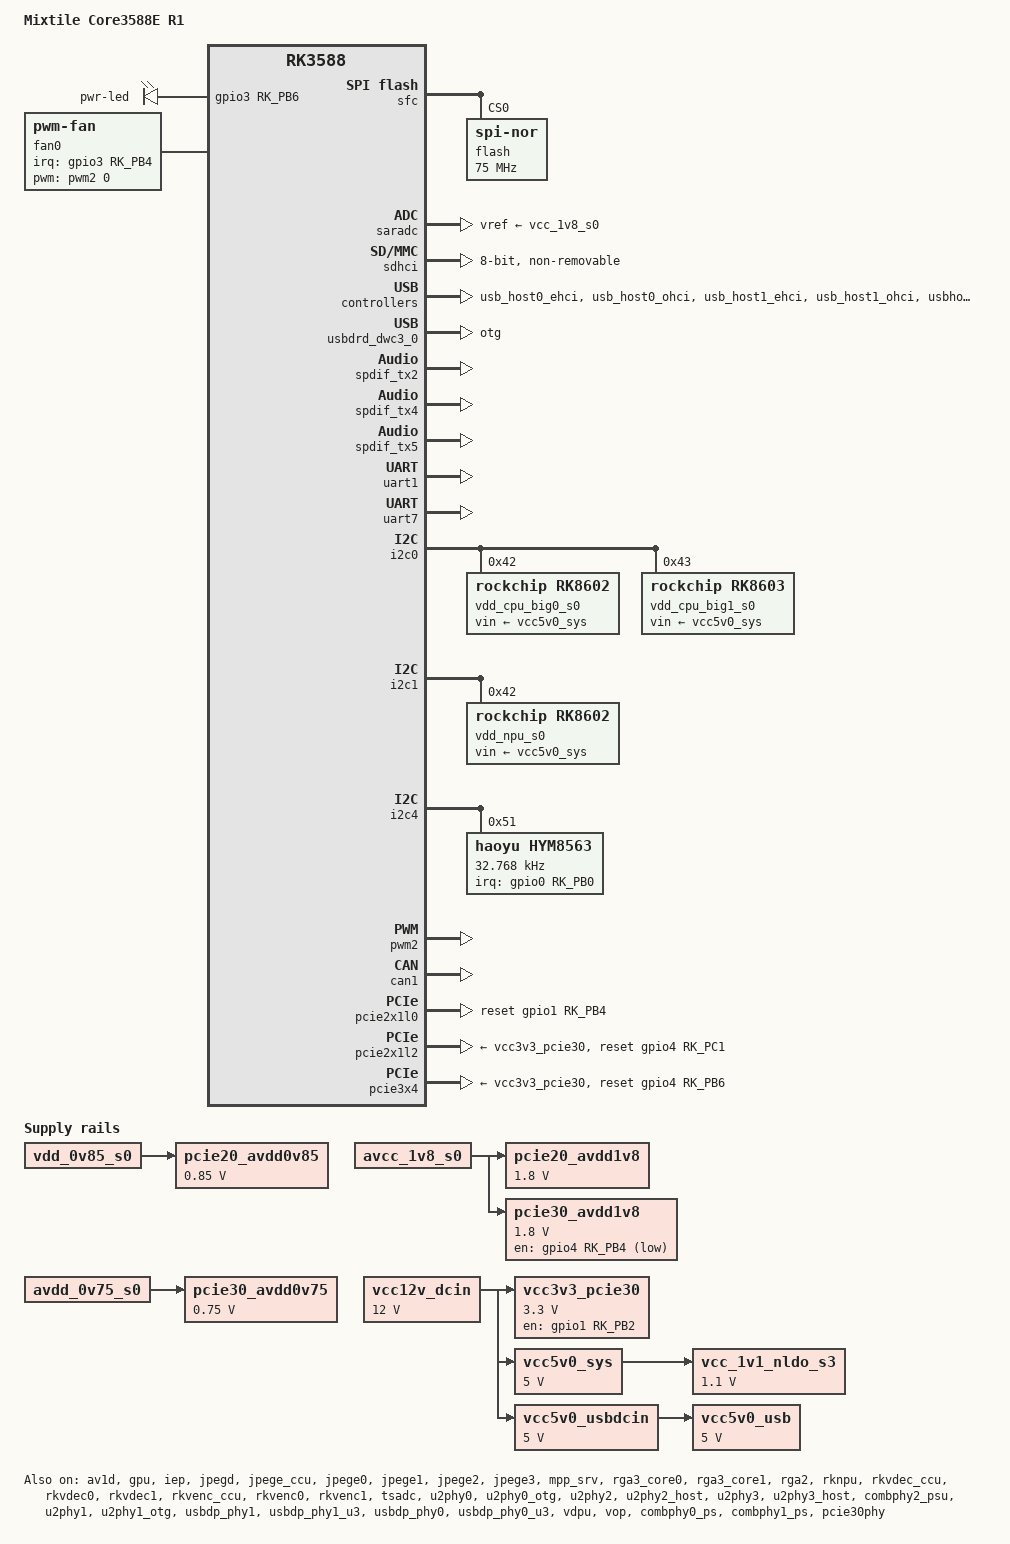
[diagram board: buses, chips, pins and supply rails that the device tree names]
// SPDX-License-Identifier: (GPL-2.0+ OR MIT)
/*
 * Copyright (c) 2026 Mixtile Limited
 *
 */

/dts-v1/;

#include <dt-bindings/gpio/gpio.h>
#include <dt-bindings/pwm/pwm.h>
#include <dt-bindings/pinctrl/rockchip.h>
#include <dt-bindings/input/rk-input.h>
#include <dt-bindings/display/drm_mipi_dsi.h>
#include <dt-bindings/display/rockchip_vop.h>
#include <dt-bindings/sensor-dev.h>

#include "rk3588.dtsi"
#include "rk3588-rk806-single.dtsi"
#include "rk3588-linux.dtsi"

/ {
	model = "Mixtile Core3588E R1";
	compatible = "mixtile,core3588e-r1", "mixtile,core3588e", "rockchip,rk3588";

	aliases {
		i2c0 = &i2c4;
		i2c1 = &i2c5;
		i2c2 = &i2c3;
		i2c3 = &i2c0;
		i2c4 = &i2c1;
		i2c5 = &i2c2;
		spi0 = &spi1;
		spi1 = &spi0;
	};

	/* If hdmirx node is disabled, delete the reserved-memory node here. */
	reserved-memory {
		#address-cells = <2>;
		#size-cells = <2>;
		ranges;

		/* Reserve 256MB memory for hdmirx-controller@fdee0000 */
		cma {
			compatible = "shared-dma-pool";
			reusable;
			reg = <0x0 (256 * 0x100000) 0x0 (256 * 0x100000)>;
			linux,cma-default;
		};
	};

        gpio-leds {
                compatible = "gpio-leds";

                pwr-led {
                        gpios = <&gpio3 RK_PB6 GPIO_ACTIVE_HIGH>;
                        default-state = "on";
                        linux,default-trigger = "heartbeat";
                };
        };

	pcie20_avdd0v85: pcie20-avdd0v85 {
		compatible = "regulator-fixed";
		regulator-name = "pcie20_avdd0v85";
		regulator-boot-on;
		regulator-always-on;
		regulator-min-microvolt = <850000>;
		regulator-max-microvolt = <850000>;
		vin-supply = <&vdd_0v85_s0>;
	};

	pcie20_avdd1v8: pcie20-avdd1v8 {
		compatible = "regulator-fixed";
		regulator-name = "pcie20_avdd1v8";
		regulator-boot-on;
		regulator-always-on;
		regulator-min-microvolt = <1800000>;
		regulator-max-microvolt = <1800000>;
		vin-supply = <&avcc_1v8_s0>;
	};

	pcie30_avdd0v75: pcie30-avdd0v75 {
		compatible = "regulator-fixed";
		regulator-name = "pcie30_avdd0v75";
		regulator-boot-on;
		regulator-always-on;
		regulator-min-microvolt = <750000>;
		regulator-max-microvolt = <750000>;
		vin-supply = <&avdd_0v75_s0>;
	};

	pcie30_avdd1v8: pcie30-avdd1v8 {
		compatible = "regulator-fixed";
		regulator-name = "pcie30_avdd1v8";
		regulator-boot-on;
		regulator-always-on;
		gpios = <&gpio4 RK_PB4 GPIO_ACTIVE_LOW>;
		regulator-min-microvolt = <1800000>;
		regulator-max-microvolt = <1800000>;
		vin-supply = <&avcc_1v8_s0>;
	};

	vcc3v3_pcie30: vcc3v3-pcie30 {
		compatible = "regulator-fixed";
		regulator-name = "vcc3v3_pcie30";
		regulator-min-microvolt = <3300000>;
		regulator-max-microvolt = <3300000>;
		enable-active-high;
		regulator-always-on;
		gpios = <&gpio1 RK_PB2 GPIO_ACTIVE_HIGH>;
		startup-delay-us = <10000>;
		vin-supply = <&vcc12v_dcin>;
	};

	vcc12v_dcin: vcc12v-dcin {
		compatible = "regulator-fixed";
		regulator-name = "vcc12v_dcin";
		regulator-always-on;
		regulator-boot-on;
		regulator-min-microvolt = <12000000>;
		regulator-max-microvolt = <12000000>;
	};

	vcc5v0_sys: vcc5v0-sys {
		compatible = "regulator-fixed";
		regulator-name = "vcc5v0_sys";
		regulator-always-on;
		regulator-boot-on;
		regulator-min-microvolt = <5000000>;
		regulator-max-microvolt = <5000000>;
		vin-supply = <&vcc12v_dcin>;
	};

	vcc5v0_usbdcin: vcc5v0-usbdcin {
		compatible = "regulator-fixed";
		regulator-name = "vcc5v0_usbdcin";
		regulator-always-on;
		regulator-boot-on;
		regulator-min-microvolt = <5000000>;
		regulator-max-microvolt = <5000000>;
		vin-supply = <&vcc12v_dcin>;
	};

	vcc5v0_usb: vcc5v0-usb {
		compatible = "regulator-fixed";
		regulator-name = "vcc5v0_usb";
		regulator-always-on;
		regulator-boot-on;
		regulator-min-microvolt = <5000000>;
		regulator-max-microvolt = <5000000>;
		vin-supply = <&vcc5v0_usbdcin>;
	};

	vcc_1v1_nldo_s3: vcc-1v1-nldo-s3 {
		compatible = "regulator-fixed";
		regulator-name = "vcc_1v1_nldo_s3";
		regulator-always-on;
		regulator-boot-on;
		regulator-min-microvolt = <1100000>;
		regulator-max-microvolt = <1100000>;
		vin-supply = <&vcc5v0_sys>;
	};

	
	 fan0: pwm-fan {
                compatible = "pwm-fan";
                #cooling-cells = <2>;
                pwms = <&pwm2 0 50000 0>;
		interrupt-parent = <&gpio3>;
		interrupts = <RK_PB4 IRQ_TYPE_EDGE_FALLING>;
		pulses-per-revolution = <2>;
                cooling-levels = <0 50 100 150 200 255>;
                rockchip,temp-trips = <
                        40000 1
                        45000 2
                        50000 3
                        55000 4
                        60000 5
                >;
        };
};

&sfc {
	status = "okay";
	pinctrl-names = "default";
	pinctrl-0 = <&fspim1_pins>;
	flash@0 {
		compatible = "jedec,spi-nor";
		reg = <0>;
		spi-max-frequency = <75000000>;
		spi-rx-bus-width = <4>;
		spi-tx-bus-width = <1>;
	};
};

&av1d {
        status = "okay";
};

&av1d_mmu {
	status = "okay";
};

&cpu_l0 {
	cpu-supply = <&vdd_cpu_lit_s0>;
	mem-supply = <&vdd_cpu_lit_mem_s0>;
};

&cpu_b0 {
	cpu-supply = <&vdd_cpu_big0_s0>;
	mem-supply = <&vdd_cpu_big0_mem_s0>;
};

&cpu_b2 {
	cpu-supply = <&vdd_cpu_big1_s0>;
	mem-supply = <&vdd_cpu_big1_mem_s0>;
};

&gpu {
	mali-supply = <&vdd_gpu_s0>;
	mem-supply = <&vdd_gpu_mem_s0>;
	status = "okay";
};

&iep {
	status = "okay";
};

&iep_mmu {
	status = "okay";
};

&jpegd {
	status = "okay";
};

&jpegd_mmu {
	status = "okay";
};

&jpege_ccu {
	status = "okay";
};

&jpege0 {
	status = "okay";
};

&jpege0_mmu {
	status = "okay";
};

&jpege1 {
	status = "okay";
};

&jpege1_mmu {
	status = "okay";
};

&jpege2 {
	status = "okay";
};

&jpege2_mmu {
	status = "okay";
};

&jpege3 {
	status = "okay";
};

&jpege3_mmu {
	status = "okay";
};

&mpp_srv {
	status = "okay";
};

&rga3_core0 {
	status = "okay";
};

&rga3_0_mmu {
	status = "okay";
};

&rga3_core1 {
	status = "okay";
};

&rga3_1_mmu {
	status = "okay";
};

&rga2 {
	status = "okay";
};

&rknpu {
	rknpu-supply = <&vdd_npu_s0>;
	mem-supply = <&vdd_npu_mem_s0>;
	status = "okay";
};

&rknpu_mmu {
	status = "okay";
};

&rkvdec_ccu {
	status = "okay";
};

&rkvdec0 {
	status = "okay";
};

&rkvdec0_mmu {
	status = "okay";
};

&rkvdec1 {
	status = "okay";
};

&rkvdec1_mmu {
	status = "okay";
};

&rkvenc_ccu {
	status = "okay";
};

&rkvenc0 {
	status = "okay";
};

&rkvenc0_mmu {
	status = "okay";
};

&rkvenc1 {
	status = "okay";
};

&rkvenc1_mmu {
	status = "okay";
};

&rockchip_suspend {
	status = "okay";
	rockchip,sleep-debug-en = <1>;
	rockchip,sleep-mode-config = <0x4000024>;
};

&saradc {
	status = "okay";
	vref-supply = <&vcc_1v8_s0>;
};

&sdhci {
	bus-width = <8>;
	no-sdio;
	no-sd;
	non-removable;
	max-frequency = <200000000>;
	mmc-hs400-1_8v;
	mmc-hs400-enhanced-strobe;
	status = "okay";
};

&tsadc {
	status = "okay";
};

&u2phy0 {
	status = "okay";
};

&u2phy0_otg {
	status = "okay";
};

&u2phy2 {
	status = "okay";
};

&u2phy2_host {
	status = "okay";
};

&u2phy3 {
	status = "okay";
};

&u2phy3_host {
	status = "okay";
};

&usb_host0_ehci {
	status = "okay";
};

&usb_host0_ohci {
	status = "okay";
};

&usb_host1_ehci {
	status = "okay";
};

&usb_host1_ohci {
	status = "okay";
};

&usbhost3_0 {
	status = "okay";
};

&usbhost_dwc3_0 {
	status = "okay";
};

&combphy2_psu {
	status = "okay";
};

&u2phy1 {
	status = "okay";
};

&u2phy1_otg {
	status = "okay";
};

&usbdrd3_1{
	status = "okay";
};

&usbdrd_dwc3_1{
	status = "okay";
};

&usbdp_phy1 {
	status = "okay";
};

&usbdp_phy1_u3 {
	status = "okay";
};

&usbdp_phy0 {
	status = "okay";
};

&usbdp_phy0_u3 {
	status = "okay";
};

&usbdrd3_0 {
	status = "okay";
};

&usbdrd_dwc3_0 {
	extcon = <&u2phy0>;
	dr_mode = "otg";
	status = "okay";
};

&vdpu {
	status = "okay";
};

&vdpu_mmu {
	status = "okay";
};

&vop {
	assigned-clocks = <&cru ACLK_VOP>;
        assigned-clock-rates = <800000000>;
	status = "okay";
};

&vop_mmu {
	status = "okay";
};

/* vp0 & vp1 splice for 8K output */
&vp0 {
	rockchip,plane-mask = <(1 << ROCKCHIP_VOP2_CLUSTER0 | 1 << ROCKCHIP_VOP2_ESMART0)>;
	rockchip,primary-plane = <ROCKCHIP_VOP2_CLUSTER0>;
	cursor-win-id = <ROCKCHIP_VOP2_ESMART0>;
};

&vp1 {
	rockchip,plane-mask = <(1 << ROCKCHIP_VOP2_CLUSTER1 | 1 << ROCKCHIP_VOP2_ESMART1)>;
	rockchip,primary-plane = <ROCKCHIP_VOP2_CLUSTER1>;
	cursor-win-id = <ROCKCHIP_VOP2_ESMART1>;
};

&vp2 {
	rockchip,plane-mask = <(1 << ROCKCHIP_VOP2_CLUSTER2 | 1 << ROCKCHIP_VOP2_ESMART2)>;
	rockchip,primary-plane = <ROCKCHIP_VOP2_CLUSTER2>;
	cursor-win-id = <ROCKCHIP_VOP2_ESMART2>;
};

&vp3 {
	rockchip,plane-mask = <(1 << ROCKCHIP_VOP2_CLUSTER3 | 1 << ROCKCHIP_VOP2_ESMART3)>;
	rockchip,primary-plane = <ROCKCHIP_VOP2_CLUSTER3>;
	cursor-win-id = <ROCKCHIP_VOP2_ESMART3>;
};

&combphy0_ps {
	status = "okay";
};

&combphy1_ps {
	status = "okay";
};

&combphy2_psu {
	status = "okay";
};

&spdif_tx2 {
    status = "okay";
};

&spdif_tx4 {
    status = "okay";
};

&spdif_tx5 {
    status = "okay";
};

&uart1 {
	status = "okay";
	pinctrl-names = "default";
	pinctrl-0 = <&uart1m1_xfer &uart1m1_ctsn &uart1m1_rtsn>;
};

&uart7 {
	status = "okay";
	pinctrl-names = "default";
	pinctrl-0 = <&uart7m1_xfer &uart7m1_ctsn &uart7m1_rtsn>;
};

&i2c0 {
	status = "okay";
	pinctrl-names = "default";
	pinctrl-0 = <&i2c0m2_xfer>;

	vdd_cpu_big0_s0: vdd_cpu_big0_mem_s0: rk8602@42 {
		compatible = "rockchip,rk8602";
		reg = <0x42>;
		vin-supply = <&vcc5v0_sys>;
		regulator-compatible = "rk860x-reg";
		regulator-name = "vdd_cpu_big0_s0";
		regulator-min-microvolt = <550000>;
		regulator-max-microvolt = <1050000>;
		regulator-ramp-delay = <2300>;
		rockchip,suspend-voltage-selector = <1>;
		regulator-boot-on;
		regulator-always-on;
		regulator-state-mem {
			regulator-off-in-suspend;
		};
	};

	vdd_cpu_big1_s0: vdd_cpu_big1_mem_s0: rk8603@43 {
		compatible = "rockchip,rk8603";
		reg = <0x43>;
		vin-supply = <&vcc5v0_sys>;
		regulator-compatible = "rk860x-reg";
		regulator-name = "vdd_cpu_big1_s0";
		regulator-min-microvolt = <550000>;
		regulator-max-microvolt = <1050000>;
		regulator-ramp-delay = <2300>;
		rockchip,suspend-voltage-selector = <1>;
		regulator-boot-on;
		regulator-always-on;
		regulator-state-mem {
			regulator-off-in-suspend;
		};
	};
};

&i2c1 {
	status = "okay";
	pinctrl-names = "default";
	pinctrl-0 = <&i2c1m2_xfer>;

	vdd_npu_s0: vdd_npu_mem_s0: rk8602@42 {
		compatible = "rockchip,rk8602";
		reg = <0x42>;
		vin-supply = <&vcc5v0_sys>;
		regulator-compatible = "rk860x-reg";
		regulator-name = "vdd_npu_s0";
		regulator-min-microvolt = <550000>;
		regulator-max-microvolt = <950000>;
		regulator-ramp-delay = <2300>;
		rockchip,suspend-voltage-selector = <1>;
		regulator-boot-on;
		regulator-always-on;
		regulator-state-mem {
			regulator-off-in-suspend;
		};
	};

};

&i2c3 { 
	status = "disabled";
	pinctrl-0 = <&i2c3m0_xfer>;
};


&i2c4 { 
	status = "okay";
	pinctrl-0 = <&i2c4m3_xfer>;
	
	hym8563: hym8563@51 {
		compatible = "haoyu,hym8563";
		reg = <0x51>;
		#clock-cells = <0>;
		clock-frequency = <32768>;
		clock-output-names = "hym8563";
		pinctrl-names = "default";
		pinctrl-0 = <&rtc_int>;	
		interrupt-parent = <&gpio0>;
		interrupts = <RK_PB0 IRQ_TYPE_LEVEL_LOW>;
		status = "okay";
	};
};

&i2c5 {
	status = "disabled";
	pinctrl-names = "default";
	pinctrl-0 = <&i2c5m2_xfer>;
};

&pwm2 { 
	pinctrl-names = "active";
	pinctrl-0 = <&pwm2m1_pins>;
	status = "okay";
};

&can1 {
	status = "okay";
	pinctrl-names = "default";
	pinctrl-0 = <&can1m1_pins>;
};

&spi0 {
	status = "disabled";
	pinctrl-names = "default";
	pinctrl-0 = <&spi0m3_cs1 &spi0m3_pins>;
	num-cs = <1>;
	
	spi_dev@0 {
	        compatible = "rockchip,spidev";
	        reg = <0>;
	        spi-max-frequency = <50000000>;
	};
};

&spi1 {
	status = "disabled";
	pinctrl-names = "default";
	pinctrl-0 = <&spi1m2_cs0 &spi1m2_pins>;
	num-cs = <1>;
	
	spi_dev@0 {
	        compatible = "rockchip,spidev";
	        reg = <0>;
	        spi-max-frequency = <50000000>;
	};
};

&i2s0_8ch {
	status = "disabled";
	pinctrl-names = "default";
	pinctrl-0 = <&i2s0_lrck
	             &i2s0_sclk
	             &i2s0_sdi0
	             &i2s0_sdo0>;
};

&i2s5_8ch {
	status = "disabled";
};

&i2s6_8ch {
	status = "disabled";
};

&pcie2x1l0 {
        reset-gpios = <&gpio1 RK_PB4 GPIO_ACTIVE_HIGH>;
        status = "okay";
};

&pcie2x1l2 {
        vpcie3v3-supply = <&vcc3v3_pcie30>;
        reset-gpios = <&gpio4 RK_PC1 GPIO_ACTIVE_HIGH>;
        status = "okay";
};

&pcie30phy {
	/* SODIMM PCIE0 uses all four PCIe 3.0 lanes. */
	rockchip,pcie30-phymode = <PHY_MODE_PCIE_AGGREGATION>;
	status = "okay";
};

&pcie3x4 {
	/* PCIe30 x4 is exposed as PCIE0 on the SODIMM edge connector. */
        reset-gpios = <&gpio4 RK_PB6 GPIO_ACTIVE_HIGH>;
        vpcie3v3-supply = <&vcc3v3_pcie30>;
	supports-clkreq;
        status = "okay";
};

&pinctrl {
	usb {
		vcc5v0_host_en: vcc5v0-host-en {
			rockchip,pins = <4 RK_PB0 RK_FUNC_GPIO &pcfg_pull_none>;
		};
	};

	hym8563 {
		rtc_int: rtc-int {
			rockchip,pins = <0 RK_PB0 RK_FUNC_GPIO &pcfg_pull_up>;
             	};
	};
};
